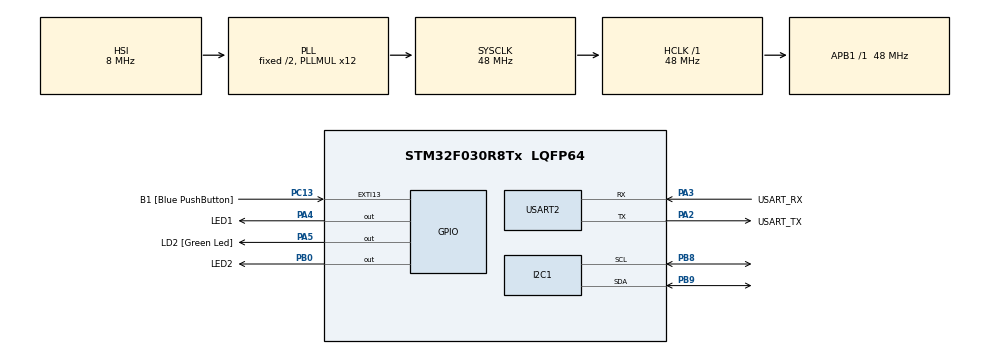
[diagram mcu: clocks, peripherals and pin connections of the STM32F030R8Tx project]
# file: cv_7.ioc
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FREERTOS.Queues01=xVisualQueue,16,uint16_t,0,Dynamic,NULL,NULL
FREERTOS.Tasks01=defaultTask,0,128,StartDefaultTask,Default,NULL,Dynamic,NULL,NULL;VisualTask,-3,128,StartVisualTask,Default,NULL,Dynamic,NULL,NULL;AcceleroTask,-3,128,StartAcceleroTask,Default,NULL,Dynamic,NULL,NULL
FREERTOS.configUSE_NEWLIB_REENTRANT=1
Mcu.Family=STM32F0
Mcu.Name=STM32F030R8Tx
Mcu.Package=LQFP64
NVIC.TIM14_IRQn=true\:3\:0\:false\:false\:true\:false\:false\:true
NVIC.TimeBase=TIM14_IRQn
NVIC.TimeBaseIP=TIM14
PA13.GPIO_Label=TMS
PA13.Mode=Serial_Wire
PA13.Signal=SYS_SWDIO
PA14.GPIO_Label=TCK
PA14.Mode=Serial_Wire
PA14.Signal=SYS_SWCLK
PA2.GPIO_Label=USART_TX
PA2.GPIO_Mode=GPIO_MODE_AF_PP
PA2.GPIO_PuPd=GPIO_NOPULL
PA2.GPIO_Speed=GPIO_SPEED_FREQ_LOW
PA2.Mode=Asynchronous
PA2.Signal=USART2_TX
PA3.GPIO_Label=USART_RX
PA3.GPIO_Mode=GPIO_MODE_AF_PP
PA3.GPIO_PuPd=GPIO_NOPULL
PA3.GPIO_Speed=GPIO_SPEED_FREQ_LOW
PA3.Mode=Asynchronous
PA3.Signal=USART2_RX
PA4.GPIO_Label=LED1
PA4.Signal=GPIO_Output
PA5.GPIO_Label=LD2 [Green Led]
PA5.GPIO_Mode=GPIO_MODE_OUTPUT_PP
PA5.GPIO_PuPd=GPIO_NOPULL
PA5.GPIO_Speed=GPIO_SPEED_FREQ_LOW
PA5.Signal=GPIO_Output
PB0.GPIO_Label=LED2
PB0.Signal=GPIO_Output
PB8.Mode=I2C
PB8.Signal=I2C1_SCL
PB9.Mode=I2C
PB9.Signal=I2C1_SDA
PC13.GPIO_Label=B1 [Blue PushButton]
PC13.GPIO_ModeDefaultEXTI=GPIO_MODE_IT_FALLING
PC13.Signal=GPXTI13
PC14-OSC32_IN.Mode=LSE-External-Oscillator
PC14-OSC32_IN.Signal=RCC_OSC32_IN
PC15-OSC32_OUT.Mode=LSE-External-Oscillator
PC15-OSC32_OUT.Signal=RCC_OSC32_OUT
PF0-OSC_IN.Mode=HSE-External-Clock-Source
PF0-OSC_IN.Signal=RCC_OSC_IN
PF1-OSC_OUT.Signal=RCC_OSC_OUT
ProjectManager.HeapSize=0x200
ProjectManager.StackSize=0x400
ProjectManager.TargetToolchain=STM32CubeIDE
RCC.AHBFreq_Value=48000000
RCC.APB1Freq_Value=48000000
RCC.APB1TimFreq_Value=48000000
RCC.HCLKFreq_Value=48000000
RCC.PLLMUL=RCC_PLL_MUL12
RCC.SYSCLKFreq_VALUE=48000000
RCC.SYSCLKSource=RCC_SYSCLKSOURCE_PLLCLK
USART2.VirtualMode-Asynchronous=VM_ASYNC
VP_FREERTOS_VS_CMSIS_V1.Mode=CMSIS_V1
VP_SYS_VS_tim14.Mode=TIM14
board=NUCLEO-F030R8

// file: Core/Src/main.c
/* USER CODE BEGIN Header */
/**
  ******************************************************************************
  * @file           : main.c
  * @brief          : Main program body
  ******************************************************************************
  * @attention
  *
  * <h2><center>&copy; Copyright (c) 2021 STMicroelectronics.
  * All rights reserved.</center></h2>
  *
  * This software component is licensed by ST under BSD 3-Clause license,
  * the "License"; You may not use this file except in compliance with the
  * License. You may obtain a copy of the License at:
  *                        opensource.org/licenses/BSD-3-Clause
  *
  ******************************************************************************
  */
/* USER CODE END Header */
#include "main.h"
#include "cmsis_os.h"

/* USER CODE BEGIN Includes */
#include <stdio.h>
#include "lis2dw12_reg.h"
/* USER CODE END Includes */

/* USER CODE BEGIN PTD */
#define ARR_SIZE(arr) ( sizeof((arr)) / sizeof((arr[0])) )
/* USER CODE END PTD */

I2C_HandleTypeDef hi2c1;

UART_HandleTypeDef huart2;

osThreadId defaultTaskHandle;
osThreadId VisualTaskHandle;
osThreadId AcceleroTaskHandle;
osMessageQId xVisualQueueHandle;

void SystemClock_Config(void);
static void MX_GPIO_Init(void);
static void MX_USART2_UART_Init(void);
static void MX_I2C1_Init(void);
void StartDefaultTask(void const * argument);
void StartVisualTask(void const * argument);
void StartAcceleroTask(void const * argument);

/* USER CODE BEGIN PFP */
static int32_t platform_write(void *handle, uint8_t reg, uint8_t *bufp, uint16_t len)
{
 HAL_I2C_Mem_Write(handle, LIS2DW12_I2C_ADD_H, reg, I2C_MEMADD_SIZE_8BIT, bufp, len, 1000);
 return 0;
}
static int32_t platform_read(void *handle, uint8_t reg, uint8_t *bufp, uint16_t len)
{
 HAL_I2C_Mem_Read(handle, LIS2DW12_I2C_ADD_H, reg, I2C_MEMADD_SIZE_8BIT, bufp, len, 1000);
 return 0;
}
int _write(int file, char const *buf, int n){
	/* stdout redirection to UART2 */
	HAL_UART_Transmit(&huart2, (uint8_t*)(buf), n, HAL_MAX_DELAY);
	return n;
}
/* USER CODE END PFP */

/* USER CODE BEGIN 0 */
static stmdev_ctx_t lis2dw12 = {
	 .write_reg = platform_write,
	 .read_reg = platform_read,
	 .handle = &hi2c1,
	};
/* USER CODE END 0 */

int main(void)
{

  /* MCU Configuration--------------------------------------------------------*/

  /* Reset of all peripherals, Initializes the Flash interface and the Systick. */
  HAL_Init();

  /* Configure the system clock */
  SystemClock_Config();

  /* Initialize all configured peripherals */
  MX_GPIO_Init();
  MX_USART2_UART_Init();
  MX_I2C1_Init();

  /* Create the queue(s) */
  /* definition and creation of xVisualQueue */
  osMessageQDef(xVisualQueue, 16, int16_t);
  xVisualQueueHandle = osMessageCreate(osMessageQ(xVisualQueue), NULL);

  /* Create the thread(s) */
  /* definition and creation of defaultTask */
  osThreadDef(defaultTask, StartDefaultTask, osPriorityNormal, 0, 128);
  defaultTaskHandle = osThreadCreate(osThread(defaultTask), NULL);

  /* definition and creation of VisualTask */
  osThreadDef(VisualTask, StartVisualTask, osPriorityNormal, 0, 128);
  VisualTaskHandle = osThreadCreate(osThread(VisualTask), NULL);

  /* definition and creation of AcceleroTask */
  osThreadDef(AcceleroTask, StartAcceleroTask, osPriorityNormal, 0, 128);
  AcceleroTaskHandle = osThreadCreate(osThread(AcceleroTask), NULL);

  /* Start scheduler */
  osKernelStart();

  /* We should never get here as control is now taken by the scheduler */
  /* Infinite loop */
  while (1)
  {

  }
}

void SystemClock_Config(void)
{
  RCC_OscInitTypeDef RCC_OscInitStruct = {0};
  RCC_ClkInitTypeDef RCC_ClkInitStruct = {0};
  RCC_PeriphCLKInitTypeDef PeriphClkInit = {0};

  /** Initializes the RCC Oscillators according to the specified parameters
  * in the RCC_OscInitTypeDef structure.
  */
  RCC_OscInitStruct.OscillatorType = RCC_OSCILLATORTYPE_HSI;
  RCC_OscInitStruct.HSIState = RCC_HSI_ON;
  RCC_OscInitStruct.HSICalibrationValue = RCC_HSICALIBRATION_DEFAULT;
  RCC_OscInitStruct.PLL.PLLState = RCC_PLL_ON;
  RCC_OscInitStruct.PLL.PLLSource = RCC_PLLSOURCE_HSI;
  RCC_OscInitStruct.PLL.PLLMUL = RCC_PLL_MUL12;
  RCC_OscInitStruct.PLL.PREDIV = RCC_PREDIV_DIV1;
  if (HAL_RCC_OscConfig(&RCC_OscInitStruct) != HAL_OK)
  {
    Error_Handler();
  }
  /** Initializes the CPU, AHB and APB buses clocks
  */
  RCC_ClkInitStruct.ClockType = RCC_CLOCKTYPE_HCLK|RCC_CLOCKTYPE_SYSCLK
                              |RCC_CLOCKTYPE_PCLK1;
  RCC_ClkInitStruct.SYSCLKSource = RCC_SYSCLKSOURCE_PLLCLK;
  RCC_ClkInitStruct.AHBCLKDivider = RCC_SYSCLK_DIV1;
  RCC_ClkInitStruct.APB1CLKDivider = RCC_HCLK_DIV1;

  if (HAL_RCC_ClockConfig(&RCC_ClkInitStruct, FLASH_LATENCY_1) != HAL_OK)
  {
    Error_Handler();
  }
  PeriphClkInit.PeriphClockSelection = RCC_PERIPHCLK_I2C1;
  PeriphClkInit.I2c1ClockSelection = RCC_I2C1CLKSOURCE_HSI;
  if (HAL_RCCEx_PeriphCLKConfig(&PeriphClkInit) != HAL_OK)
  {
    Error_Handler();
  }
}

static void MX_I2C1_Init(void)
{

  hi2c1.Instance = I2C1;
  hi2c1.Init.Timing = 0x2000090E;
  hi2c1.Init.OwnAddress1 = 0;
  hi2c1.Init.AddressingMode = I2C_ADDRESSINGMODE_7BIT;
  hi2c1.Init.DualAddressMode = I2C_DUALADDRESS_DISABLE;
  hi2c1.Init.OwnAddress2 = 0;
  hi2c1.Init.OwnAddress2Masks = I2C_OA2_NOMASK;
  hi2c1.Init.GeneralCallMode = I2C_GENERALCALL_DISABLE;
  hi2c1.Init.NoStretchMode = I2C_NOSTRETCH_DISABLE;
  if (HAL_I2C_Init(&hi2c1) != HAL_OK)
  {
    Error_Handler();
  }
  /** Configure Analogue filter
  */
  if (HAL_I2CEx_ConfigAnalogFilter(&hi2c1, I2C_ANALOGFILTER_ENABLE) != HAL_OK)
  {
    Error_Handler();
  }
  /** Configure Digital filter
  */
  if (HAL_I2CEx_ConfigDigitalFilter(&hi2c1, 0) != HAL_OK)
  {
    Error_Handler();
  }

}

static void MX_USART2_UART_Init(void)
{

  huart2.Instance = USART2;
  huart2.Init.BaudRate = 38400;
  huart2.Init.WordLength = UART_WORDLENGTH_8B;
  huart2.Init.StopBits = UART_STOPBITS_1;
  huart2.Init.Parity = UART_PARITY_NONE;
  huart2.Init.Mode = UART_MODE_TX_RX;
  huart2.Init.HwFlowCtl = UART_HWCONTROL_NONE;
  huart2.Init.OverSampling = UART_OVERSAMPLING_16;
  huart2.Init.OneBitSampling = UART_ONE_BIT_SAMPLE_DISABLE;
  huart2.AdvancedInit.AdvFeatureInit = UART_ADVFEATURE_NO_INIT;
  if (HAL_UART_Init(&huart2) != HAL_OK)
  {
    Error_Handler();
  }

}

static void MX_GPIO_Init(void)
{
  GPIO_InitTypeDef GPIO_InitStruct = {0};

  /* GPIO Ports Clock Enable */
  __HAL_RCC_GPIOC_CLK_ENABLE();
  __HAL_RCC_GPIOF_CLK_ENABLE();
  __HAL_RCC_GPIOA_CLK_ENABLE();
  __HAL_RCC_GPIOB_CLK_ENABLE();

  /*Configure GPIO pin Output Level */
  HAL_GPIO_WritePin(GPIOA, LED1_Pin|LD2_Pin, GPIO_PIN_RESET);

  /*Configure GPIO pin Output Level */
  HAL_GPIO_WritePin(LED2_GPIO_Port, LED2_Pin, GPIO_PIN_RESET);

  /*Configure GPIO pin : B1_Pin */
  GPIO_InitStruct.Pin = B1_Pin;
  GPIO_InitStruct.Mode = GPIO_MODE_IT_FALLING;
  GPIO_InitStruct.Pull = GPIO_NOPULL;
  HAL_GPIO_Init(B1_GPIO_Port, &GPIO_InitStruct);

  /*Configure GPIO pins : LED1_Pin LD2_Pin */
  GPIO_InitStruct.Pin = LED1_Pin|LD2_Pin;
  GPIO_InitStruct.Mode = GPIO_MODE_OUTPUT_PP;
  GPIO_InitStruct.Pull = GPIO_NOPULL;
  GPIO_InitStruct.Speed = GPIO_SPEED_FREQ_LOW;
  HAL_GPIO_Init(GPIOA, &GPIO_InitStruct);

  /*Configure GPIO pin : LED2_Pin */
  GPIO_InitStruct.Pin = LED2_Pin;
  GPIO_InitStruct.Mode = GPIO_MODE_OUTPUT_PP;
  GPIO_InitStruct.Pull = GPIO_NOPULL;
  GPIO_InitStruct.Speed = GPIO_SPEED_FREQ_LOW;
  HAL_GPIO_Init(LED2_GPIO_Port, &GPIO_InitStruct);

}

void StartDefaultTask(void const * argument)
{
  /* USER CODE BEGIN 5 */
	//  int16_t values[] = {-5000, 0, 5000};
	/* Infinite loop */
	for(;;)
	{
		//	  msg = values[rand() % ARR_SIZE(values)];
		//xQueueSend(xAcceleroQueueHandle, &msg, 0);
		//osDelay(50);
	}
  /* USER CODE END 5 */
}

void StartVisualTask(void const * argument)
{
  /* USER CODE BEGIN StartVisualTask */
	int16_t msg;
	/* Infinite loop */
	for(;;)
	{
		if (xQueueReceive(xVisualQueueHandle, &msg, portMAX_DELAY)) {
			if(msg < -2000){
				HAL_GPIO_WritePin(LED1_GPIO_Port, LED1_Pin, 1);
				HAL_GPIO_WritePin(LED2_GPIO_Port, LED2_Pin, 0);
			}
			else if(msg > 2000){
				HAL_GPIO_WritePin(LED2_GPIO_Port, LED2_Pin, 1);
				HAL_GPIO_WritePin(LED1_GPIO_Port, LED1_Pin, 0);
			}
			else{
				HAL_GPIO_WritePin(LED1_GPIO_Port, LED1_Pin, 0);
				HAL_GPIO_WritePin(LED2_GPIO_Port, LED2_Pin, 0);
			}
		}
		osDelay(1);
	}
  /* USER CODE END StartVisualTask */
}

void StartAcceleroTask(void const * argument)
{
  /* USER CODE BEGIN StartAcceleroTask */
	uint8_t whoamI = 0;
	lis2dw12_device_id_get(&lis2dw12, &whoamI);
	printf("LIS2DW12_ID %s\n", (whoamI == LIS2DW12_ID) ? "OK" : "FAIL");
	lis2dw12_full_scale_set(&lis2dw12, LIS2DW12_2g);
	lis2dw12_power_mode_set(&lis2dw12, LIS2DW12_CONT_LOW_PWR_LOW_NOISE_2);
	lis2dw12_block_data_update_set(&lis2dw12, PROPERTY_ENABLE);
	lis2dw12_fifo_mode_set(&lis2dw12, LIS2DW12_STREAM_MODE); // enable continuous FIFO
	lis2dw12_data_rate_set(&lis2dw12, LIS2DW12_XL_ODR_25Hz); // enable part from power-down
	uint32_t tick = 0;
	/* Infinite loop */
	for(;;)
	{
		uint8_t samples;
		int16_t raw_acceleration[3];
		lis2dw12_fifo_data_level_get(&lis2dw12, &samples);
		for (uint8_t i = 0; i < samples; i++) {
			// Read acceleration data
			lis2dw12_acceleration_raw_get(&lis2dw12, raw_acceleration);
		}
		if (HAL_GetTick() > tick + 2000){
			tick = HAL_GetTick();
			printf("X=%d Y=%d Z=%d\n", raw_acceleration[0], raw_acceleration[1], raw_acceleration[2]);
		}
		xQueueSend(xVisualQueueHandle, raw_acceleration, 0);
		osDelay(50);
	}
  /* USER CODE END StartAcceleroTask */
}

void HAL_TIM_PeriodElapsedCallback(TIM_HandleTypeDef *htim)
{
  if (htim->Instance == TIM14) {
    HAL_IncTick();
  }
}

void Error_Handler(void)
{
  __disable_irq();
  while (1)
  {
  }
}

/************************ (C) COPYRIGHT STMicroelectronics *****END OF FILE****/
